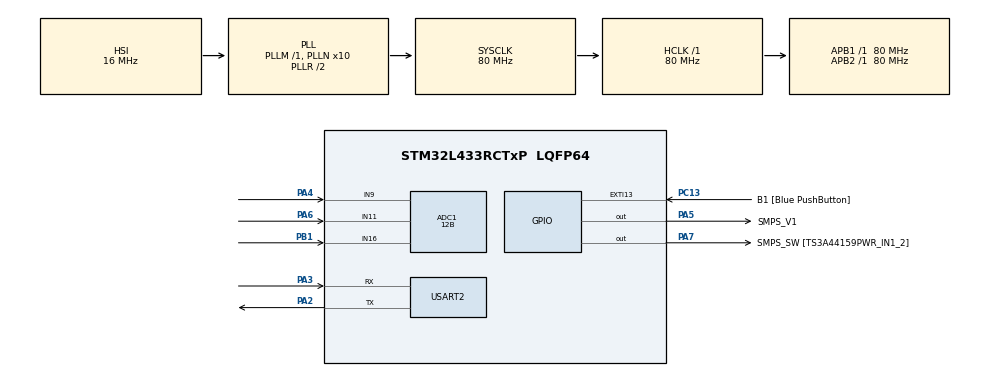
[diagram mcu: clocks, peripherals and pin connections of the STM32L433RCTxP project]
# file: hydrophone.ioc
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ADC1.Channel-1\#ChannelRegularConversion=ADC_CHANNEL_VREFINT
ADC1.Channel-2\#ChannelRegularConversion=ADC_CHANNEL_16
ADC1.Channel-3\#ChannelRegularConversion=ADC_CHANNEL_11
ADC1.Channel-4\#ChannelRegularConversion=ADC_CHANNEL_9
ADC1.ClockPrescaler=ADC_CLOCK_ASYNC_DIV1
ADC1.ContinuousConvMode=ENABLE
ADC1.DMAContinuousRequests=DISABLE
ADC1.DiscontinuousConvMode=DISABLE
ADC1.EOCSelection=ADC_EOC_SINGLE_CONV
ADC1.EnableAnalogWatchDog1=false
ADC1.EnableAnalogWatchDog2=false
ADC1.EnableAnalogWatchDog3=false
ADC1.NbrOfConversion=4
ADC1.NbrOfConversionFlag=1
ADC1.OffsetNumber-1\#ChannelRegularConversion=ADC_OFFSET_NONE
ADC1.OffsetNumber-2\#ChannelRegularConversion=ADC_OFFSET_NONE
ADC1.OffsetNumber-3\#ChannelRegularConversion=ADC_OFFSET_NONE
ADC1.OffsetNumber-4\#ChannelRegularConversion=ADC_OFFSET_NONE
ADC1.Overrun=ADC_OVR_DATA_OVERWRITTEN
ADC1.Rank-1\#ChannelRegularConversion=1
ADC1.Rank-2\#ChannelRegularConversion=2
ADC1.Rank-3\#ChannelRegularConversion=3
ADC1.Rank-4\#ChannelRegularConversion=4
ADC1.Resolution=ADC_RESOLUTION_12B
ADC1.SamplingTime-1\#ChannelRegularConversion=ADC_SAMPLETIME_2CYCLES_5
ADC1.SamplingTime-2\#ChannelRegularConversion=ADC_SAMPLETIME_2CYCLES_5
ADC1.SamplingTime-3\#ChannelRegularConversion=ADC_SAMPLETIME_2CYCLES_5
ADC1.SamplingTime-4\#ChannelRegularConversion=ADC_SAMPLETIME_2CYCLES_5
ADC1.master=1
Dma.ADC1.0.Direction=DMA_PERIPH_TO_MEMORY
Dma.ADC1.0.Instance=DMA1_Channel1
Dma.ADC1.0.MemDataAlignment=DMA_MDATAALIGN_HALFWORD
Dma.ADC1.0.MemInc=DMA_MINC_ENABLE
Dma.ADC1.0.Mode=DMA_NORMAL
Dma.ADC1.0.PeriphDataAlignment=DMA_PDATAALIGN_HALFWORD
Dma.ADC1.0.PeriphInc=DMA_PINC_DISABLE
Dma.ADC1.0.Priority=DMA_PRIORITY_LOW
Dma.Request0=ADC1
Dma.Request1=USART2_RX
Dma.Request2=USART2_TX
Dma.USART2_RX.1.Direction=DMA_PERIPH_TO_MEMORY
Dma.USART2_RX.1.Instance=DMA1_Channel6
Dma.USART2_RX.1.MemDataAlignment=DMA_MDATAALIGN_BYTE
Dma.USART2_RX.1.MemInc=DMA_MINC_ENABLE
Dma.USART2_RX.1.Mode=DMA_NORMAL
Dma.USART2_RX.1.PeriphDataAlignment=DMA_PDATAALIGN_BYTE
Dma.USART2_RX.1.PeriphInc=DMA_PINC_DISABLE
Dma.USART2_RX.1.Priority=DMA_PRIORITY_LOW
Dma.USART2_TX.2.Direction=DMA_MEMORY_TO_PERIPH
Dma.USART2_TX.2.Instance=DMA1_Channel7
Dma.USART2_TX.2.MemDataAlignment=DMA_MDATAALIGN_BYTE
Dma.USART2_TX.2.MemInc=DMA_MINC_ENABLE
Dma.USART2_TX.2.Mode=DMA_NORMAL
Dma.USART2_TX.2.PeriphDataAlignment=DMA_PDATAALIGN_BYTE
Dma.USART2_TX.2.PeriphInc=DMA_PINC_DISABLE
Dma.USART2_TX.2.Priority=DMA_PRIORITY_LOW
FREERTOS.Tasks01=defaultTask,0,128,StartDefaultTask,Default,NULL,Dynamic,NULL,NULL
FREERTOS.configUSE_NEWLIB_REENTRANT=1
Mcu.Family=STM32L4
Mcu.Name=STM32L433RCTxP
Mcu.Package=LQFP64
NVIC.DMA1_Channel1_IRQn=true\:5\:0\:false\:false\:true\:true\:false\:true\:true
NVIC.DMA1_Channel6_IRQn=true\:5\:0\:false\:false\:true\:true\:false\:true\:true
NVIC.DMA1_Channel7_IRQn=true\:5\:0\:false\:false\:true\:true\:false\:true\:true
NVIC.PriorityGroup=NVIC_PRIORITYGROUP_4
NVIC.TIM2_IRQn=true\:5\:0\:false\:false\:true\:true\:true\:true\:true
NVIC.USART2_IRQn=true\:5\:0\:false\:false\:true\:true\:true\:true\:true
PA13\ (JTMS-SWDIO).GPIO_Label=TMS
PA13\ (JTMS-SWDIO).Mode=Serial_Wire
PA13\ (JTMS-SWDIO).Signal=SYS_JTMS-SWDIO
PA14\ (JTCK-SWCLK).GPIO_Label=TCK
PA14\ (JTCK-SWCLK).Mode=Serial_Wire
PA14\ (JTCK-SWCLK).Signal=SYS_JTCK-SWCLK
PA2.Mode=Asynchronous
PA2.Signal=USART2_TX
PA3.GPIO_Mode=GPIO_MODE_AF_PP
PA3.GPIO_ModeDefaultPP=GPIO_MODE_AF_PP
PA3.GPIO_PuPd=GPIO_NOPULL
PA3.GPIO_Speed=GPIO_SPEED_FREQ_VERY_HIGH
PA3.Mode=Asynchronous
PA3.Signal=USART2_RX
PA4.Signal=ADCx_IN9
PA5.GPIO_Label=SMPS_V1
PA5.GPIO_ModeDefaultOutputPP=GPIO_MODE_OUTPUT_PP
PA5.GPIO_PuPd=GPIO_NOPULL
PA5.GPIO_Speed=GPIO_SPEED_FREQ_LOW
PA5.Signal=GPIO_Output
PA6.Signal=ADCx_IN11
PA7.GPIO_Label=SMPS_SW [TS3A44159PWR_IN1_2]
PA7.Signal=GPIO_Output
PB1.Signal=ADCx_IN16
PB3\ (JTDO-TRACESWO).GPIO_Label=SWO
PB3\ (JTDO-TRACESWO).Signal=SYS_JTDO-SWO
PC13.GPIO_Label=B1 [Blue PushButton]
PC13.GPIO_ModeDefaultEXTI=GPIO_MODE_IT_FALLING
PC13.GPIO_PuPd=GPIO_NOPULL
PC13.Signal=GPXTI13
PC14-OSC32_IN\ (PC14).Mode=LSE-External-Oscillator
PC14-OSC32_IN\ (PC14).Signal=RCC_OSC32_IN
PC15-OSC32_OUT\ (PC15).Mode=LSE-External-Oscillator
PC15-OSC32_OUT\ (PC15).Signal=RCC_OSC32_OUT
PH0-OSC_IN\ (PH0).GPIO_Label=MCO
PH0-OSC_IN\ (PH0).Mode=HSE-External-Clock-Source
PH0-OSC_IN\ (PH0).Signal=RCC_OSC_IN
PH1-OSC_OUT\ (PH1).Signal=RCC_OSC_OUT
ProjectManager.HeapSize=0x200
ProjectManager.StackSize=0x400
ProjectManager.TargetToolchain=STM32CubeIDE
RCC.ADCFreq_Value=64000000
RCC.AHBFreq_Value=80000000
RCC.APB1Freq_Value=80000000
RCC.APB1TimFreq_Value=80000000
RCC.APB2Freq_Value=80000000
RCC.APB2TimFreq_Value=80000000
RCC.CortexFreq_Value=80000000
RCC.HCLKFreq_Value=80000000
RCC.HSE_VALUE=8000000
RCC.HSI48_VALUE=48000000
RCC.HSI_VALUE=16000000
RCC.MSI_VALUE=4000000
RCC.PLLN=10
RCC.PLLSourceVirtual=RCC_PLLSOURCE_HSI
RCC.PREFETCH_ENABLE=1
RCC.SYSCLKFreq_VALUE=80000000
RCC.SYSCLKSource=RCC_SYSCLKSOURCE_PLLCLK
RCC.USBFreq_Value=64000000
RCC.VCOOutputFreq_Value=160000000
SH.ADCx_IN11.0=ADC1_IN11,IN11-Single-Ended
SH.ADCx_IN16.0=ADC1_IN16,IN16-Single-Ended
SH.ADCx_IN9.0=ADC1_IN9,IN9-Single-Ended
TIM2.Period=800
USART2.VirtualMode-Asynchronous=VM_ASYNC
VP_ADC1_Vref_Input.Mode=IN-Vrefint
VP_FREERTOS_VS_CMSIS_V1.Mode=CMSIS_V1
VP_TIM2_VS_ClockSourceINT.Mode=Internal
board=NUCLEO-L433RC-P

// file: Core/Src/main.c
/* USER CODE BEGIN Header */
/**
  ******************************************************************************
  * @file           : main.c
  * @brief          : Main program body
  ******************************************************************************
  * @attention
  *
  * Copyright (c) 2023 STMicroelectronics.
  * All rights reserved.
  *
  * This software is licensed under terms that can be found in the LICENSE file
  * in the root directory of this software component.
  * If no LICENSE file comes with this software, it is provided AS-IS.
  *
  ******************************************************************************
  */
/* USER CODE END Header */
#include "main.h"
#include "cmsis_os.h"

ADC_HandleTypeDef hadc1;
DMA_HandleTypeDef hdma_adc1;

TIM_HandleTypeDef htim2;

UART_HandleTypeDef huart2;
DMA_HandleTypeDef hdma_usart2_rx;
DMA_HandleTypeDef hdma_usart2_tx;

osThreadId defaultTaskHandle;
/* USER CODE BEGIN PV */
/*ros::NodeHandle nh;
auv_msgs::PingerTimeDifference pingerTimeDifference;
std_msgs::Float32MultiArray wave0;
std_msgs::Float32MultiArray wave1;
std_msgs::Float32MultiArray wave2;
std_msgs::Float32MultiArray fourier0;
std_msgs::Float32MultiArray fourier1;
std_msgs::Float32MultiArray fourier2;

ros::Publisher hpub("/sensors/hydrophones/pinger_time_difference", &pingerTimeDifference);
ros::Publisher wave_pub0("/sensors/hydrophones/wave0", &wave0);
//ros::Publisher wave_pub1("/sensors/hydrophones/wave1", &wave1);
//ros::Publisher wave_pub2("/sensors/hydrophones/wave2", &wave2);
ros::Publisher fourier_pub0("/sensors/hydrophones/fourier0", &fourier0);
//ros::Publisher fourier_pub1("/sensors/hydrophones/fourier1", &fourier1);
//ros::Publisher fourier_pub2("/sensors/hydrophones/fourier2", &fourier2);*/

/* USER CODE END PV */

void SystemClock_Config(void);
static void MX_GPIO_Init(void);
static void MX_DMA_Init(void);
static void MX_TIM2_Init(void);
static void MX_USART2_UART_Init(void);
static void MX_ADC1_Init(void);
void StartDefaultTask(void const * argument);

/* USER CODE BEGIN PFP */
#ifdef __GNUC__
#define PUTCHAR_PROTOTYPE int __io_putchar(int ch)
#else
#define PUTCHAR_PROTOTYPE int fputc(int ch, FILE *f)
#endif

PUTCHAR_PROTOTYPE
{
  HAL_UART_Transmit(&huart2, (uint8_t *)&ch, 1, HAL_MAX_DELAY);
  return ch;
}
/* USER CODE END PFP */

/* USER CODE BEGIN 0 */
uint32_t usecs_elapsed = 0;
volatile uint16_t adcChannels[4];
volatile int conversionComplete = 0;

typedef enum {
	INIT,
	HYDROPHONE1,
	HYDROPHONE2,
	HYDROPHONE3
} Hydrophone;

volatile Hydrophone curPhone = INIT;

__always_inline void calculateVoltage(uint16_t VREFINT_DATA, uint16_t ADC_DATA, float32_t *pOut) {
	float32_t VREFINT_CAL = (float32_t) *((uint16_t*) VREFINT_CAL_ADDR);
	float32_t Vdda = 3.0 * (VREFINT_CAL / VREFINT_DATA);
	*pOut = (Vdda / 4095) * (float32_t)ADC_DATA;
}

__always_inline void calculateVariance(float32_t *pSum, float32_t *pSumSquares, float32_t *pResult) {
	*pResult = ((*pSumSquares) - ((powf((*pSum), 2))/512.0f)) / (512.0f - 1.0f);
	*pSum = 0;
	*pSumSquares = 0;
}

void HAL_UART_TxCpltCallback(UART_HandleTypeDef *huart){
  nh.getHardware()->flush();
}

void HAL_UART_RxCpltCallback(UART_HandleTypeDef *huart){
  nh.getHardware()->reset_rbuf();
}

/* USER CODE END 0 */

int main(void)
{

  /* MCU Configuration--------------------------------------------------------*/

  /* Reset of all peripherals, Initializes the Flash interface and the Systick. */
  HAL_Init();

  /* Configure the system clock */
  SystemClock_Config();

  /* Initialize all configured peripherals */
  MX_GPIO_Init();
  MX_DMA_Init();
  MX_TIM2_Init();
  MX_USART2_UART_Init();
  MX_ADC1_Init();
  /* USER CODE BEGIN 2 */
  float32_t hydrophone1[1024];
  float32_t hydrophone2[1024];
  float32_t hydrophone3[1024];
  float32_t fourier_wave0[512];
  float32_t fourier_wave1[512];
  float32_t fourier_wave2[512];
  float32_t V1, V2, V3;
  float32_t v1Variance;
  float32_t v1Sum = 0;
  float32_t v1SumSquares = 0;
  float32_t v2Variance;
  float32_t v2Sum = 0;
  float32_t v2SumSquares = 0;
  float32_t v3Variance;
  float32_t v3Sum = 0;
  float32_t v3SumSquares = 0;
  uint32_t index = 0;
  uint32_t times[3];
  uint32_t frequency0 = 0;
  uint32_t frequency1 = 0;
  uint32_t frequency2 = 0;
  HAL_ADCEx_Calibration_Start(&hadc1, ADC_SINGLE_ENDED);
  for (int i = 0; i < 512; i++) {
	  hydrophone1[2*i + 1] = 0;
	  hydrophone2[2*i + 1] = 0;
	  hydrophone3[2*i + 1] = 0;
  }
  /*nh.initNode();
  nh.advertise(hpub);
  nh.advertise(wave_pub0);
  //nh.advertise(wave_pub1);
  //nh.advertise(wave_pub2);
  nh.advertise(fourier_pub0);
  //nh.advertise(fourier_pub1);
  //nh.advertise(fourier_pub2);*/
  HAL_TIM_Base_Start_IT(&htim2);
  /* USER CODE END 2 */

  /* Create the thread(s) */
  /* definition and creation of defaultTask */
  osThreadDef(defaultTask, StartDefaultTask, osPriorityNormal, 0, 128);
  defaultTaskHandle = osThreadCreate(osThread(defaultTask), NULL);

  /* Start scheduler */
  osKernelStart();

  /* We should never get here as control is now taken by the scheduler */

  /* Infinite loop */
  /* USER CODE BEGIN WHILE */
  HAL_TIM_Base_Start_IT(&htim2);
  //printf("HI!\n\r");
  while (1)
  {
    index = 0;
	  for(int i = 0; i < 1536; i++) {
		  HAL_ADC_Start_DMA(&hadc1, (uint32_t *) adcChannels, 4);
		  while (conversionComplete == 0) {
			  continue;
		  }
		  conversionComplete = 0;
      if (i < 3)
    	  times[i] = usecs_elapsed;
      switch (curPhone) {
      	case INIT:
      		break;
      	case HYDROPHONE1:
      		calculateVoltage(adcChannels[0], adcChannels[1], &V1);
      		hydrophone1[2*index] = V1;
      		break;
        case HYDROPHONE2:
        	calculateVoltage(adcChannels[0], adcChannels[2], &V2);
        	hydrophone2[2*index] = V2;
        	break;
        case HYDROPHONE3:
        	calculateVoltage(adcChannels[0], adcChannels[3], &V3);
        	hydrophone3[2*index] = V3;
        	break;
      }
      if (i % 3 == 2) {
    	  index++;
      }
	 }
	wave0.data = hydrophone1;
	wave0.data_length = 1024;
	wave_pub0.publish(&wave0);
	//nh.spinOnce();
	/*wave1.data = hydrophone2;
	wave1.data_length = 1024;
	wave_pub1.publish(&wave1);
	nh.spinOnce();
	wave2.data = hydrophone3;
	wave2.data_length = 1024;
	wave_pub2.publish(&wave2);
	nh.spinOnce();*/
	get_fft(hydrophone1, fourier_wave0, 1024);
	fourier0.data = fourier_wave0;
	fourier0.data_length = 512;
	fourier_pub0.publish(&fourier0);
	//nh.spinOnce();
	/*get_fft(hydrophone2, fourier_wave1, 1024);
	fourier1.data = fourier_wave1;
	fourier1.data_length = 512;
	fourier_pub1.publish(&fourier1);
	nh.spinOnce();
	get_fft(hydrophone3, fourier_wave2, 1024);
	fourier2.data = fourier_wave2;
	fourier2.data_length = 512;
	fourier_pub2.publish(&fourier2);
	nh.spinOnce();*/
    frequency0 = get_frequency(hydrophone1, 1024, 4705882.3529);
    frequency1 = get_frequency(hydrophone2, 1024, 4705882.3529);
    frequency2 = get_frequency(hydrophone3, 1024, 4705882.3529);
    if (frequency0 == frequency1 && frequency0 == frequency2) {
		/*pingerTimeDifference.frequency = frequency0;
		pingerTimeDifference.times = times;
		pingerTimeDifference.times_length = 3;
		hpub.publish(&pingerTimeDifference);*/
    }
	//nh.spinOnce();

    /* USER CODE END WHILE */

  }
}

void SystemClock_Config(void)
{
  RCC_OscInitTypeDef RCC_OscInitStruct = {0};
  RCC_ClkInitTypeDef RCC_ClkInitStruct = {0};

  /** Configure the main internal regulator output voltage
  */
  if (HAL_PWREx_ControlVoltageScaling(PWR_REGULATOR_VOLTAGE_SCALE1) != HAL_OK)
  {
    Error_Handler();
  }

  /** Initializes the RCC Oscillators according to the specified parameters
  * in the RCC_OscInitTypeDef structure.
  */
  RCC_OscInitStruct.OscillatorType = RCC_OSCILLATORTYPE_HSI;
  RCC_OscInitStruct.HSIState = RCC_HSI_ON;
  RCC_OscInitStruct.HSICalibrationValue = RCC_HSICALIBRATION_DEFAULT;
  RCC_OscInitStruct.PLL.PLLState = RCC_PLL_ON;
  RCC_OscInitStruct.PLL.PLLSource = RCC_PLLSOURCE_HSI;
  RCC_OscInitStruct.PLL.PLLM = 1;
  RCC_OscInitStruct.PLL.PLLN = 10;
  RCC_OscInitStruct.PLL.PLLP = RCC_PLLP_DIV7;
  RCC_OscInitStruct.PLL.PLLQ = RCC_PLLQ_DIV2;
  RCC_OscInitStruct.PLL.PLLR = RCC_PLLR_DIV2;
  if (HAL_RCC_OscConfig(&RCC_OscInitStruct) != HAL_OK)
  {
    Error_Handler();
  }

  /** Initializes the CPU, AHB and APB buses clocks
  */
  RCC_ClkInitStruct.ClockType = RCC_CLOCKTYPE_HCLK|RCC_CLOCKTYPE_SYSCLK
                              |RCC_CLOCKTYPE_PCLK1|RCC_CLOCKTYPE_PCLK2;
  RCC_ClkInitStruct.SYSCLKSource = RCC_SYSCLKSOURCE_PLLCLK;
  RCC_ClkInitStruct.AHBCLKDivider = RCC_SYSCLK_DIV1;
  RCC_ClkInitStruct.APB1CLKDivider = RCC_HCLK_DIV1;
  RCC_ClkInitStruct.APB2CLKDivider = RCC_HCLK_DIV1;

  if (HAL_RCC_ClockConfig(&RCC_ClkInitStruct, FLASH_LATENCY_4) != HAL_OK)
  {
    Error_Handler();
  }
}

static void MX_ADC1_Init(void)
{

  ADC_ChannelConfTypeDef sConfig = {0};

  /** Common config
  */
  hadc1.Instance = ADC1;
  hadc1.Init.ClockPrescaler = ADC_CLOCK_ASYNC_DIV1;
  hadc1.Init.Resolution = ADC_RESOLUTION_12B;
  hadc1.Init.DataAlign = ADC_DATAALIGN_RIGHT;
  hadc1.Init.ScanConvMode = ADC_SCAN_ENABLE;
  hadc1.Init.EOCSelection = ADC_EOC_SINGLE_CONV;
  hadc1.Init.LowPowerAutoWait = DISABLE;
  hadc1.Init.ContinuousConvMode = ENABLE;
  hadc1.Init.NbrOfConversion = 4;
  hadc1.Init.DiscontinuousConvMode = DISABLE;
  hadc1.Init.ExternalTrigConv = ADC_SOFTWARE_START;
  hadc1.Init.ExternalTrigConvEdge = ADC_EXTERNALTRIGCONVEDGE_NONE;
  hadc1.Init.DMAContinuousRequests = DISABLE;
  hadc1.Init.Overrun = ADC_OVR_DATA_OVERWRITTEN;
  hadc1.Init.OversamplingMode = DISABLE;
  if (HAL_ADC_Init(&hadc1) != HAL_OK)
  {
    Error_Handler();
  }

  /** Configure Regular Channel
  */
  sConfig.Channel = ADC_CHANNEL_VREFINT;
  sConfig.Rank = ADC_REGULAR_RANK_1;
  sConfig.SamplingTime = ADC_SAMPLETIME_2CYCLES_5;
  sConfig.SingleDiff = ADC_SINGLE_ENDED;
  sConfig.OffsetNumber = ADC_OFFSET_NONE;
  sConfig.Offset = 0;
  if (HAL_ADC_ConfigChannel(&hadc1, &sConfig) != HAL_OK)
  {
    Error_Handler();
  }

  /** Configure Regular Channel
  */
  sConfig.Channel = ADC_CHANNEL_16;
  sConfig.Rank = ADC_REGULAR_RANK_2;
  if (HAL_ADC_ConfigChannel(&hadc1, &sConfig) != HAL_OK)
  {
    Error_Handler();
  }

  /** Configure Regular Channel
  */
  sConfig.Channel = ADC_CHANNEL_11;
  sConfig.Rank = ADC_REGULAR_RANK_3;
  if (HAL_ADC_ConfigChannel(&hadc1, &sConfig) != HAL_OK)
  {
    Error_Handler();
  }

  /** Configure Regular Channel
  */
  sConfig.Channel = ADC_CHANNEL_9;
  sConfig.Rank = ADC_REGULAR_RANK_4;
  if (HAL_ADC_ConfigChannel(&hadc1, &sConfig) != HAL_OK)
  {
    Error_Handler();
  }

}

static void MX_TIM2_Init(void)
{

  TIM_ClockConfigTypeDef sClockSourceConfig = {0};
  TIM_MasterConfigTypeDef sMasterConfig = {0};

  htim2.Instance = TIM2;
  htim2.Init.Prescaler = 0;
  htim2.Init.CounterMode = TIM_COUNTERMODE_UP;
  htim2.Init.Period = 800;
  htim2.Init.ClockDivision = TIM_CLOCKDIVISION_DIV1;
  htim2.Init.AutoReloadPreload = TIM_AUTORELOAD_PRELOAD_DISABLE;
  if (HAL_TIM_Base_Init(&htim2) != HAL_OK)
  {
    Error_Handler();
  }
  sClockSourceConfig.ClockSource = TIM_CLOCKSOURCE_INTERNAL;
  if (HAL_TIM_ConfigClockSource(&htim2, &sClockSourceConfig) != HAL_OK)
  {
    Error_Handler();
  }
  sMasterConfig.MasterOutputTrigger = TIM_TRGO_RESET;
  sMasterConfig.MasterSlaveMode = TIM_MASTERSLAVEMODE_DISABLE;
  if (HAL_TIMEx_MasterConfigSynchronization(&htim2, &sMasterConfig) != HAL_OK)
  {
    Error_Handler();
  }

}

static void MX_USART2_UART_Init(void)
{

  huart2.Instance = USART2;
  huart2.Init.BaudRate = 115200;
  huart2.Init.WordLength = UART_WORDLENGTH_8B;
  huart2.Init.StopBits = UART_STOPBITS_1;
  huart2.Init.Parity = UART_PARITY_NONE;
  huart2.Init.Mode = UART_MODE_TX_RX;
  huart2.Init.HwFlowCtl = UART_HWCONTROL_NONE;
  huart2.Init.OverSampling = UART_OVERSAMPLING_16;
  huart2.Init.OneBitSampling = UART_ONE_BIT_SAMPLE_DISABLE;
  huart2.AdvancedInit.AdvFeatureInit = UART_ADVFEATURE_NO_INIT;
  if (HAL_UART_Init(&huart2) != HAL_OK)
  {
    Error_Handler();
  }

}

static void MX_DMA_Init(void)
{

  /* DMA controller clock enable */
  __HAL_RCC_DMA1_CLK_ENABLE();

  /* DMA interrupt init */
  /* DMA1_Channel1_IRQn interrupt configuration */
  HAL_NVIC_SetPriority(DMA1_Channel1_IRQn, 5, 0);
  HAL_NVIC_EnableIRQ(DMA1_Channel1_IRQn);
  /* DMA1_Channel6_IRQn interrupt configuration */
  HAL_NVIC_SetPriority(DMA1_Channel6_IRQn, 5, 0);
  HAL_NVIC_EnableIRQ(DMA1_Channel6_IRQn);
  /* DMA1_Channel7_IRQn interrupt configuration */
  HAL_NVIC_SetPriority(DMA1_Channel7_IRQn, 5, 0);
  HAL_NVIC_EnableIRQ(DMA1_Channel7_IRQn);

}

static void MX_GPIO_Init(void)
{
  GPIO_InitTypeDef GPIO_InitStruct = {0};

  /* GPIO Ports Clock Enable */
  __HAL_RCC_GPIOC_CLK_ENABLE();
  __HAL_RCC_GPIOH_CLK_ENABLE();
  __HAL_RCC_GPIOA_CLK_ENABLE();
  __HAL_RCC_GPIOB_CLK_ENABLE();

  /*Configure GPIO pin Output Level */
  HAL_GPIO_WritePin(GPIOA, SMPS_V1_Pin|SMPS_SW_Pin, GPIO_PIN_RESET);

  /*Configure GPIO pin : B1_Pin */
  GPIO_InitStruct.Pin = B1_Pin;
  GPIO_InitStruct.Mode = GPIO_MODE_IT_FALLING;
  GPIO_InitStruct.Pull = GPIO_NOPULL;
  HAL_GPIO_Init(B1_GPIO_Port, &GPIO_InitStruct);

  /*Configure GPIO pins : SMPS_V1_Pin SMPS_SW_Pin */
  GPIO_InitStruct.Pin = SMPS_V1_Pin|SMPS_SW_Pin;
  GPIO_InitStruct.Mode = GPIO_MODE_OUTPUT_PP;
  GPIO_InitStruct.Pull = GPIO_NOPULL;
  GPIO_InitStruct.Speed = GPIO_SPEED_FREQ_LOW;
  HAL_GPIO_Init(GPIOA, &GPIO_InitStruct);

}

/* USER CODE BEGIN 4 */
void HAL_TIM_PeriodElapsedCallback(TIM_HandleTypeDef *htim) {
	usecs_elapsed += 10;
}

void HAL_ADC_ConvCpltCallback(ADC_HandleTypeDef *hadc) {
	switch (curPhone) {
	case INIT:
		curPhone = HYDROPHONE1;
		break;
	case HYDROPHONE1:
		curPhone = HYDROPHONE2;
		break;
	case HYDROPHONE2:
		curPhone = HYDROPHONE3;
		break;
	case HYDROPHONE3:
		curPhone = HYDROPHONE1;
  }
  conversionComplete = 1;
}
/* USER CODE END 4 */

void StartDefaultTask(void const * argument)
{
  for(;;)
  {
    osDelay(1);
  }
}

void Error_Handler(void)
{
  __disable_irq();
  while (1)
  {
  }
}
